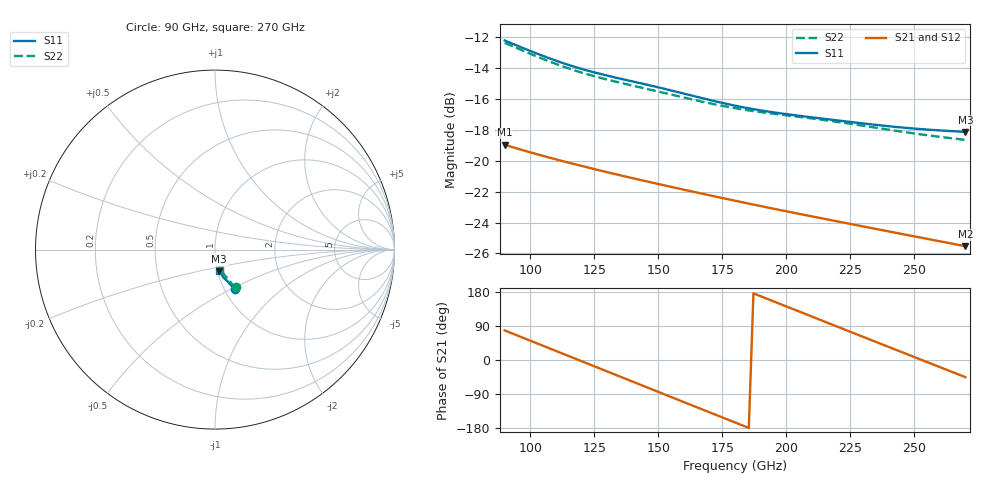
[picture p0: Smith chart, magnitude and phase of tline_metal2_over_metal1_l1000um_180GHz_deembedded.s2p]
! Created with skrf 2.2.0 (http://scikit-rf.org).
# GHz S DB R 50.0
! Port[1] = P1
! Port[2] = P2
!freq dBS11 angS11 dBS21 angS21 dBS12 angS12 dBS22 angS22
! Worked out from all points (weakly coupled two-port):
!   101 points, 90 GHz to 270 GHz, reference 50 ohm
!   highest |S21| = -18.98 dB at 90 GHz (marker M1); lowest = -25.5 dB at 270 GHz (marker M2)
!   lowest |S11| = -18.1 dB at 270 GHz (marker M3), VSWR 1.28, Z = 50.7 - j12.5 ohm
!   |S11| at or under -10 dB: start of sweep to end of sweep
!   |S22| runs from -18.7 to -12.4 dB; largest |S21 - S12| = 1.2e-13
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90  -12.24 -62.8  -18.98 78.2  -18.98 78.2  -12.39 -61.1
99  -12.85 -64.8  -19.42 53.8  -19.42 53.8  -13.03 -62.9
106.2  -13.31 -66.0  -19.75 34.4  -19.75 34.4  -13.51 -63.9
113.4  -13.74 -66.9  -20.06 14.9  -20.06 14.9  -13.96 -64.5
120.6  -14.10 -67.7  -20.37 -4.6  -20.37 -4.6  -14.34 -65.0
127.8  -14.42 -68.4  -20.66 -24.0  -20.66 -24.0  -14.67 -65.5
136.8  -14.77 -69.5  -21.01 -48.4  -21.01 -48.4  -15.04 -66.2
144  -15.04 -70.5  -21.29 -67.8  -21.29 -67.8  -15.31 -66.9
151.2  -15.32 -71.6  -21.56 -87.2  -21.56 -87.2  -15.59 -67.7
158.4  -15.61 -72.6  -21.82 -106.7  -21.82 -106.7  -15.86 -68.4
167.4  -15.98 -73.6  -22.14 -130.9  -22.14 -130.9  -16.20 -69.0
180  -16.45 -74.4  -22.59 -164.8  -22.59 -164.8  -16.61 -69.6
187.2  -16.68 -74.7  -22.84 175.8  -22.84 175.8  -16.80 -70.0
194.4  -16.87 -75.0  -23.09 156.5  -23.09 156.5  -16.96 -70.4
203.4  -17.07 -75.5  -23.39 132.4  -23.39 132.4  -17.14 -71.2
210.6  -17.22 -75.9  -23.62 113.1  -23.62 113.1  -17.29 -71.9
217.8  -17.36 -76.5  -23.86 93.9  -23.86 93.9  -17.45 -72.7
225  -17.50 -77.0  -24.09 74.6  -24.09 74.6  -17.62 -73.6
241.2  -17.80 -78.0  -24.61 31.3  -24.61 31.3  -18.03 -75.1
248.4  -17.91 -78.3  -24.84 12.2  -24.84 12.2  -18.21 -75.7
255.6  -18.00 -78.7  -25.07 -7.0  -25.07 -7.0  -18.37 -76.2
270  -18.15 -79.6  -25.53 -45.2  -25.53 -45.2  -18.66 -77.1
